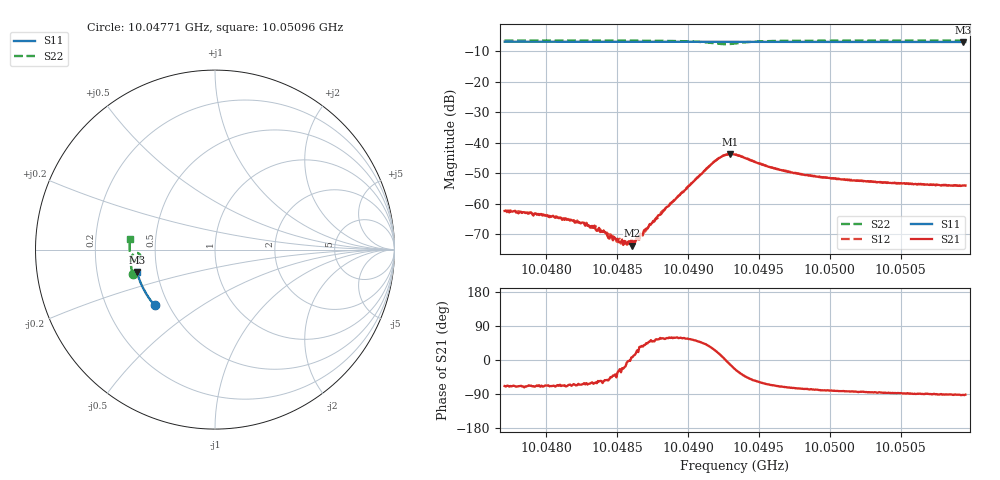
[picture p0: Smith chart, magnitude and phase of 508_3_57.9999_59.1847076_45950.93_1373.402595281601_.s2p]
#  HZ  S  RI  R  50.00
! Rohde & Schwarz Vector Network Analyzer
! Rohde-Schwarz,ZNB20-2Port,1311601062101988,3.16
! Created: UTC 3/21/2024, 1:13:05 AM
! freq[Hz]  re:S11  im:S11  re:S21  im:S21  re:S12  im:S12  re:S22  im:S22
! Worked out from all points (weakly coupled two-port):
!   401 points, 10.04771 GHz to 10.05096 GHz, reference 50 ohm
!   highest |S21| = -43.71 dB at 10.0493 GHz (marker M1); lowest = -73.7 dB at 10.04861 GHz (marker M2)
!   lowest |S11| = -6.9 dB at 10.05094 GHz (marker M3), VSWR 2.65, Z = 19.2 - j6.04 ohm
!   |S11| at or under -10 dB: nowhere
!   |S22| runs from -7.6 to -6.4 dB; largest |S21 - S12| = 0.00048
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1.0047707e10  -0.336 -0.311  0.000279 -0.00071  0.000332 -0.000684  -0.4585 -0.1373
1.0047755e10  -0.3382 -0.3085  0.00026 -0.0007  0.000321 -0.000693  -0.4592 -0.1341
1.0047999e10  -0.3484 -0.2958  0.000247 -0.000594  0.000265 -0.000586  -0.4631 -0.1173
1.0048251e10  -0.3585 -0.283  0.000208 -0.000445  0.000247 -0.000409  -0.4665 -0.0997
1.0048406e10  -0.3645 -0.2746  0.000204 -0.000303  0.000225 -0.000248  -0.468 -0.0882
1.0048454e10  -0.3663 -0.2721  0.000212 -0.000213  0.000212 -0.000232  -0.4685 -0.0845
1.0048495e10  -0.3677 -0.2698  0.000178 -0.000183  0.000196 -0.000141  -0.4688 -0.0814
1.0048528e10  -0.3691 -0.2681  0.000198 -0.000125  0.000203 -9.07e-05  -0.4691 -0.079
1.0048584e10  -0.3712 -0.2649  0.00022 -6.96e-06  0.000245 -1.01e-05  -0.4693 -0.0742
1.0048609e10  -0.3721 -0.2636  0.000205 2.78e-05  0.000249 3.8e-05  -0.4694 -0.0722
1.0048666e10  -0.3741 -0.2604  0.000266 0.000182  0.000257 0.000192  -0.4695 -0.0675
1.0048682e10  -0.3746 -0.2596  0.000258 0.000185  0.000233 0.000195  -0.4693 -0.066
1.0048796e10  -0.3789 -0.2532  0.000377 0.000533  0.000329 0.000544  -0.4686 -0.0556
1.0049186e10  -0.3914 -0.231  0.00437 0.00224  0.00421 0.00254  -0.43 -0.0194
1.0049251e10  -0.3932 -0.2274  0.00615 0.000609  0.00613 0.000996  -0.4153 -0.0336
1.00493e10  -0.3947 -0.2248  0.00636 -0.00147  0.00648 -0.00106  -0.4161 -0.0505
1.0049332e10  -0.3958 -0.223  0.00585 -0.00262  0.00603 -0.00226  -0.4229 -0.059
1.0049608e10  -0.4043 -0.2069  0.0015 -0.00354  0.00166 -0.00347  -0.4669 -0.0434
1.0049877e10  -0.4117 -0.191  0.000599 -0.00279  0.000787 -0.00276  -0.4742 -0.0177
1.0050421e10  -0.4248 -0.1576  0.000126 -0.0022  0.000224 -0.00221  -0.4755 0.0241
1.0050941e10  -0.4344 -0.1252  -7.25e-05 -0.002  1.94e-05 -0.002  -0.4721 0.0602
1.0050957e10  -0.4349 -0.1241  -5.67e-05 -0.00199  3.12e-05 -0.00199  -0.4719 0.0612
